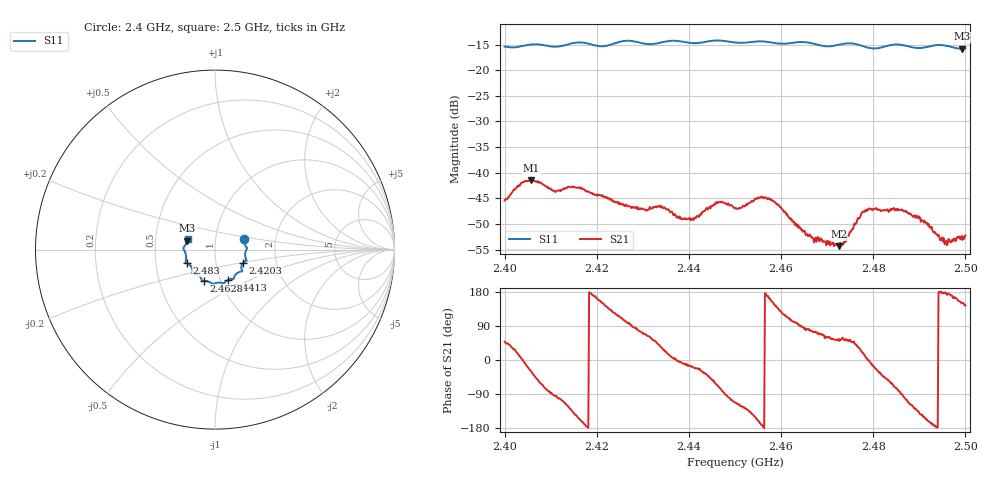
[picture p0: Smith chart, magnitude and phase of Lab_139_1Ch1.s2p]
# Hz S RI R 50
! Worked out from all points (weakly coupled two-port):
!   601 points, 2.4 GHz to 2.5 GHz, reference 50 ohm
!   highest |S21| = -41.40 dB at 2.4058 GHz (marker M1); lowest = -54.3 dB at 2.4725 GHz (marker M2)
!   lowest |S11| = -15.8 dB at 2.4993 GHz (marker M3), VSWR 1.39, Z = 36.5 + j3.73 ohm
!   |S11| at or under -10 dB: start of sweep to end of sweep
!   S12 and S22 are empty: the file has one direction only
!   S11 on the Smith chart (normalised r, x): 2.4 GHz: 1.37, +0.16; 2.4203 GHz: 1.35, -0.21; 2.4413 GHz: 1.09, -0.38; 2.4628 GHz: 0.83, -0.30; 2.483 GHz: 0.72, -0.11; 2.5 GHz: 0.73, +0.09
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2.4e9  0.1604 0.0568  0.00355 0.004  0 0  0 0
2.405833e9  0.1779 0.0108  0.00731 -0.00436  0 0  0 0
2.410833e9  0.1684 -0.019  -0.000519 -0.00664  0 0  0 0
2.416667e9  0.176 -0.0612  -0.00678 -0.00233  0 0  0 0
2.420333e9  0.1555 -0.0738  -0.00571 0.00228  0 0  0 0
2.428e9  0.1478 -0.1217  0.000329 0.00454  0 0  0 0
2.433333e9  0.1079 -0.1485  0.00355 0.00306  0 0  0 0
2.441333e9  0.0742 -0.168  0.00338 -0.00139  0 0  0 0
2.446333e9  0.0491 -0.1887  0.00179 -0.00478  0 0  0 0
2.45e9  0.0294 -0.1839  -0.00169 -0.00416  0 0  0 0
2.456333e9  -0.0135 -0.19  -0.00576 -3.13e-05  0 0  0 0
2.462833e9  -0.063 -0.1748  -0.000632 0.00328  0 0  0 0
2.466667e9  -0.0742 -0.1675  0.000534 0.00227  0 0  0 0
2.4725e9  -0.1149 -0.1347  0.00108 0.00159  0 0  0 0
2.473667e9  -0.1217 -0.1344  0.00127 0.0017  0 0  0 0
2.478e9  -0.1245 -0.1164  0.004 0.00104  0 0  0 0
2.483e9  -0.1549 -0.0765  0.00278 -0.0034  0 0  0 0
2.483333e9  -0.157 -0.0755  0.00247 -0.00333  0 0  0 0
2.489667e9  -0.1612 -0.0328  -0.00253 -0.00259  0 0  0 0
2.495667e9  -0.1735 0.0142  -0.00208 0.000108  0 0  0 0
2.499333e9  -0.1543 0.0498  -0.00193 0.00107  0 0  0 0
2.5e9  -0.1527 0.0588  -0.00198 0.00144  0 0  0 0
